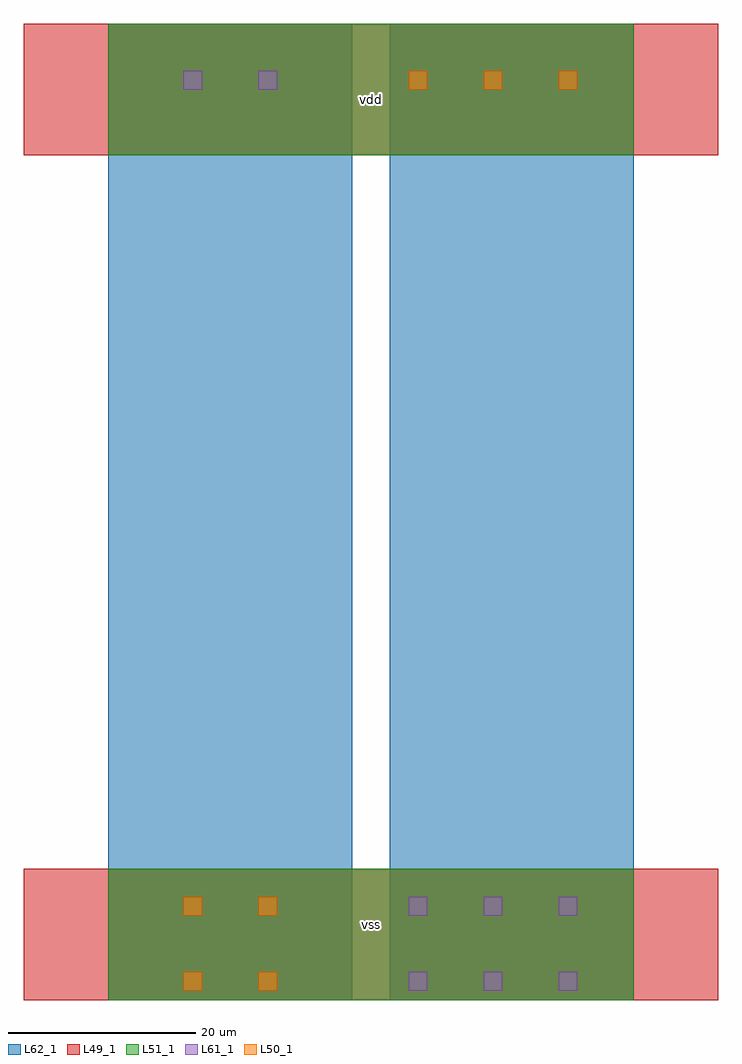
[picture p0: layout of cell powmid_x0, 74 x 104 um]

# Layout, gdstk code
import gdstk
lib = gdstk.Library(unit=1e-6, precision=1e-09)
def R(c, l, rs):  # rectangles x0, y0, x1, y1
    for r in rs: c.add(gdstk.rectangle(r[:2], r[2:], *l))
def A(c, l, x, y, w, h, nx, ny, dx, dy):  # array of equal rectangles
    R(c, l, [(x+i*dx, y+j*dy, x+i*dx+w, y+j*dy+h) for i in range(nx) for j in range(ny)])
L49_1 = (49, 1)
L50_1 = (50, 1)
L51_1 = (51, 1)
L61_1 = (61, 1)
L62_1 = (62, 1)

powmid_x0 = lib.new_cell('powmid_x0')
R(powmid_x0, L49_1, [(-2,-2,72,12), (-2,88,72,102)])
A(powmid_x0, L50_1, 39, 95, 2, 2, 3, 1, 8, 0)
R(powmid_x0, L50_1, [(15,-1,17,1), (23,-1,25,1), (15,7,17,9), (23,7,25,9)])
R(powmid_x0, L51_1, [(7,-2,63,12), (7,88,63,102)])
A(powmid_x0, L61_1, 39, -1, 2, 2, 3, 2, 8, 8)
R(powmid_x0, L61_1, [(15,95,17,97), (23,95,25,97)])
R(powmid_x0, L62_1, [(7,-2,33,102), (37,-2,63,102)])
powmid_x0.add(gdstk.Label('vss', (35,6), layer=49, texttype=1))
powmid_x0.add(gdstk.Label('vdd', (35,94), layer=49, texttype=1))
powmid_x0.add(gdstk.Label('vss', (35,6), layer=51, texttype=1))
powmid_x0.add(gdstk.Label('vdd', (35,94), layer=51, texttype=1))

lib.write_gds('powmid_x0.gds')
